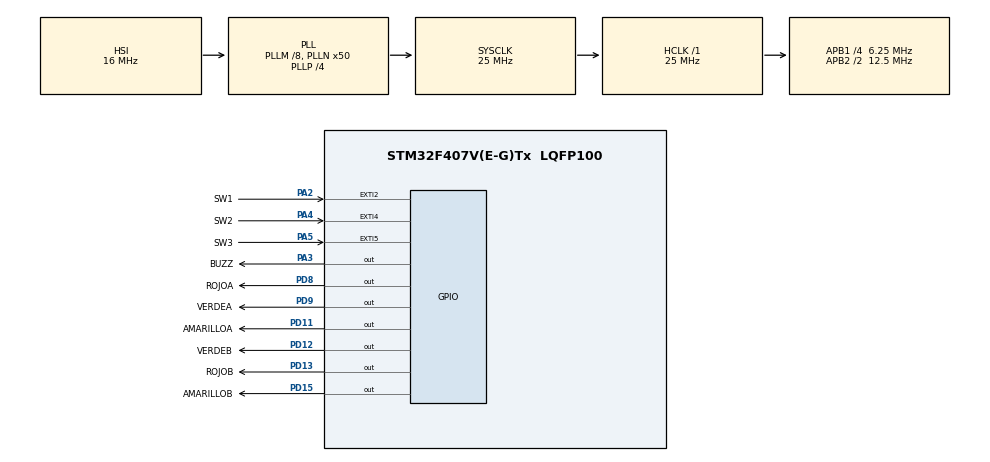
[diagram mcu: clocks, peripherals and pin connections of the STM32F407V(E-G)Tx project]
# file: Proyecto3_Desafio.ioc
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Mcu.Family=STM32F4
Mcu.Name=STM32F407V(E-G)Tx
Mcu.Package=LQFP100
NVIC.EXTI2_IRQn=true\:0\:0\:false\:false\:true\:true\:true\:true
NVIC.EXTI4_IRQn=true\:0\:0\:false\:false\:true\:true\:true\:true
NVIC.PriorityGroup=NVIC_PRIORITYGROUP_0
PA2.GPIO_Label=SW1
PA2.GPIO_ModeDefaultEXTI=GPIO_MODE_IT_FALLING
PA2.Signal=GPXTI2
PA3.GPIO_Label=BUZZ
PA3.Signal=GPIO_Output
PA4.GPIO_Label=SW2
PA4.GPIO_ModeDefaultEXTI=GPIO_MODE_IT_RISING
PA4.Signal=GPXTI4
PA5.GPIO_Label=SW3
PA5.GPIO_ModeDefaultEXTI=GPIO_MODE_IT_RISING_FALLING
PA5.Signal=GPXTI5
PD11.GPIO_Label=AMARILLOA
PD11.Signal=GPIO_Output
PD12.GPIO_Label=VERDEB
PD12.Signal=GPIO_Output
PD13.GPIO_Label=ROJOB
PD13.Signal=GPIO_Output
PD15.GPIO_Label=AMARILLOB
PD15.Signal=GPIO_Output
PD8.GPIO_Label=ROJOA
PD8.Signal=GPIO_Output
PD9.GPIO_Label=VERDEA
PD9.Signal=GPIO_Output
ProjectManager.HeapSize=0x200
ProjectManager.StackSize=0x400
ProjectManager.TargetToolchain=STM32CubeIDE
RCC.48MHZClocksFreq_Value=14285714.285714285
RCC.AHBFreq_Value=25000000
RCC.APB1CLKDivider=RCC_HCLK_DIV4
RCC.APB1Freq_Value=6250000
RCC.APB1TimFreq_Value=12500000
RCC.APB2CLKDivider=RCC_HCLK_DIV2
RCC.APB2Freq_Value=12500000
RCC.APB2TimFreq_Value=25000000
RCC.CortexFreq_Value=25000000
RCC.HCLKFreq_Value=25000000
RCC.HSE_VALUE=8000000
RCC.HSI_VALUE=16000000
RCC.LSE_VALUE=32768
RCC.PLLM=8
RCC.PLLN=50
RCC.PLLP=RCC_PLLP_DIV4
RCC.PLLQ=7
RCC.SYSCLKFreq_VALUE=25000000
RCC.SYSCLKSource=RCC_SYSCLKSOURCE_PLLCLK
RCC.VCOOutputFreq_Value=100000000
board=STM32F407G-DISC1

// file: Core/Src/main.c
/* USER CODE BEGIN Header */
/**
 ******************************************************************************
 * @file           : main.c
 * @brief          : Main program body
 ******************************************************************************
 * @attention
 *
 * Copyright (c) 2026 STMicroelectronics.
 * All rights reserved.
 *
 * This software is licensed under terms that can be found in the LICENSE file
 * in the root directory of this software component.
 * If no LICENSE file comes with this software, it is provided AS-IS.
 *
 ******************************************************************************
 */
/* USER CODE END Header */
#include "main.h"

/* USER CODE BEGIN PTD */
typedef enum { ROJO_A, AMARILLO_A, VERDE_A, TOTAL_SECUENCIAA} SecuenciaA;

typedef enum { ROJO_B, AMARILLO_B, VERDE_B, TOTAL_SECUENCIAB} SecuenciaB;
/* USER CODE END PTD */

/* USER CODE BEGIN PD */
#define BOTONES_GPIO_PORT GPIOA //el buzzer está en esta categoria
#define LUCES_GPIO_PORT GPIOD

#define encenderTodos ROJOA_Pin|VERDEA_Pin|AMARILLOA_Pin|VERDEB_Pin|ROJOB_Pin|AMARILLOB_Pin
#define apagarTodos (ROJOA_Pin|VERDEA_Pin|AMARILLOA_Pin|VERDEB_Pin|ROJOB_Pin|AMARILLOB_Pin) << 16

#define T2S 2000
#define T1S 1000
#define TREBOTE 150

#define ESTADOINICIALA ROJO_A
#define ESTADOINICIALB ROJO_B
//#define SecuenciaA estadoActualA
//#define SecuenciaB estadoActualB

/* USER CODE END PD */

/* USER CODE BEGIN PV */
volatile uint8_t solicitud = 0;
volatile uint32_t lastDebounceTickSw1 = 0;
volatile uint32_t lastDebounceTickSw2 = 0;
volatile uint32_t lastDebounceTickSw3 = 0;

/* USER CODE END PV */

void SystemClock_Config(void);
static void MX_GPIO_Init(void);
/* USER CODE BEGIN PFP */
void inicio();
void Funcionapagartodos();
void Funcionencendertodos();
void apagarA(SecuenciaA estadoActualA);
void apagarB(SecuenciaB estadoActualB);
void encenderA(SecuenciaA estadoActualA);
void encenderB(SecuenciaB estadoActualB);
SecuenciaA avanzarA(SecuenciaA estadoActualA);
SecuenciaB avanzarB(SecuenciaB estadoActualB);

/* USER CODE END PFP */

int main(void)
{

	/* MCU Configuration--------------------------------------------------------*/

	/* Reset of all peripherals, Initializes the Flash interface and the Systick. */
	HAL_Init();

	/* Configure the system clock */
	SystemClock_Config();

	/* Initialize all configured peripherals */
	MX_GPIO_Init();
	/* USER CODE BEGIN 2 */
	SecuenciaA estadoActualA = ESTADOINICIALA;
	SecuenciaB estadoActualB = ESTADOINICIALB;
	int contador = 0;

	inicio();
	/* USER CODE END 2 */

	/* Infinite loop */
	while (1)
	{

		/* USER CODE BEGIN 3 */
		if (solicitud == 1) {
			estadoActualA = avanzarA(estadoActualA);
			solicitud = 0;
		}
		if (solicitud == 2) {
			estadoActualB = avanzarB(estadoActualB);
			solicitud = 0;
		}
		if (solicitud == 3) {
			contador++;
			solicitud = 0;
			if (contador == 5) {
				HAL_GPIO_WritePin(BOTONES_GPIO_PORT, BUZZ_Pin, GPIO_PIN_SET);
				inicio();
				HAL_Delay(5000);
				HAL_GPIO_WritePin(BOTONES_GPIO_PORT, BUZZ_Pin, GPIO_PIN_RESET);

				contador = 0;
			}
		}
	}
}
/* USER CODE END 3 */

void SystemClock_Config(void)
{
	RCC_OscInitTypeDef RCC_OscInitStruct = {0};
	RCC_ClkInitTypeDef RCC_ClkInitStruct = {0};

	/** Configure the main internal regulator output voltage
	 */
	__HAL_RCC_PWR_CLK_ENABLE();
	__HAL_PWR_VOLTAGESCALING_CONFIG(PWR_REGULATOR_VOLTAGE_SCALE1);

	/** Initializes the RCC Oscillators according to the specified parameters
	 * in the RCC_OscInitTypeDef structure.
	 */
	RCC_OscInitStruct.OscillatorType = RCC_OSCILLATORTYPE_HSI;
	RCC_OscInitStruct.HSIState = RCC_HSI_ON;
	RCC_OscInitStruct.HSICalibrationValue = RCC_HSICALIBRATION_DEFAULT;
	RCC_OscInitStruct.PLL.PLLState = RCC_PLL_ON;
	RCC_OscInitStruct.PLL.PLLSource = RCC_PLLSOURCE_HSI;
	RCC_OscInitStruct.PLL.PLLM = 8;
	RCC_OscInitStruct.PLL.PLLN = 50;
	RCC_OscInitStruct.PLL.PLLP = RCC_PLLP_DIV4;
	RCC_OscInitStruct.PLL.PLLQ = 7;
	if (HAL_RCC_OscConfig(&RCC_OscInitStruct) != HAL_OK)
	{
		Error_Handler();
	}

	/** Initializes the CPU, AHB and APB buses clocks
	 */
	RCC_ClkInitStruct.ClockType = RCC_CLOCKTYPE_HCLK|RCC_CLOCKTYPE_SYSCLK
			|RCC_CLOCKTYPE_PCLK1|RCC_CLOCKTYPE_PCLK2;
	RCC_ClkInitStruct.SYSCLKSource = RCC_SYSCLKSOURCE_PLLCLK;
	RCC_ClkInitStruct.AHBCLKDivider = RCC_SYSCLK_DIV1;
	RCC_ClkInitStruct.APB1CLKDivider = RCC_HCLK_DIV4;
	RCC_ClkInitStruct.APB2CLKDivider = RCC_HCLK_DIV2;

	if (HAL_RCC_ClockConfig(&RCC_ClkInitStruct, FLASH_LATENCY_0) != HAL_OK)
	{
		Error_Handler();
	}
}

static void MX_GPIO_Init(void)
{
	GPIO_InitTypeDef GPIO_InitStruct = {0};

	/* GPIO Ports Clock Enable */
	__HAL_RCC_GPIOA_CLK_ENABLE();
	__HAL_RCC_GPIOD_CLK_ENABLE();

	/*Configure GPIO pin Output Level */
	HAL_GPIO_WritePin(BUZZ_GPIO_Port, BUZZ_Pin, GPIO_PIN_RESET);

	/*Configure GPIO pin Output Level */
	HAL_GPIO_WritePin(GPIOD, ROJOA_Pin|VERDEA_Pin|AMARILLOA_Pin|VERDEB_Pin
			|ROJOB_Pin|AMARILLOB_Pin, GPIO_PIN_RESET);

	/*Configure GPIO pin : SW1_Pin */
	GPIO_InitStruct.Pin = SW1_Pin;
	GPIO_InitStruct.Mode = GPIO_MODE_IT_FALLING;
	GPIO_InitStruct.Pull = GPIO_NOPULL;
	HAL_GPIO_Init(SW1_GPIO_Port, &GPIO_InitStruct);

	/*Configure GPIO pin : BUZZ_Pin */
	GPIO_InitStruct.Pin = BUZZ_Pin;
	GPIO_InitStruct.Mode = GPIO_MODE_OUTPUT_PP;
	GPIO_InitStruct.Pull = GPIO_NOPULL;
	GPIO_InitStruct.Speed = GPIO_SPEED_FREQ_LOW;
	HAL_GPIO_Init(BUZZ_GPIO_Port, &GPIO_InitStruct);

	/*Configure GPIO pin : SW2_Pin */
	GPIO_InitStruct.Pin = SW2_Pin;
	GPIO_InitStruct.Mode = GPIO_MODE_IT_RISING;
	GPIO_InitStruct.Pull = GPIO_NOPULL;
	HAL_GPIO_Init(SW2_GPIO_Port, &GPIO_InitStruct);

	/*Configure GPIO pin : SW3_Pin */
	GPIO_InitStruct.Pin = SW3_Pin;
	GPIO_InitStruct.Mode = GPIO_MODE_IT_RISING_FALLING;
	GPIO_InitStruct.Pull = GPIO_NOPULL;
	HAL_GPIO_Init(SW3_GPIO_Port, &GPIO_InitStruct);

	/*Configure GPIO pins : ROJOA_Pin VERDEA_Pin AMARILLOA_Pin VERDEB_Pin
                           ROJOB_Pin AMARILLOB_Pin */
	GPIO_InitStruct.Pin = ROJOA_Pin|VERDEA_Pin|AMARILLOA_Pin|VERDEB_Pin
			|ROJOB_Pin|AMARILLOB_Pin;
	GPIO_InitStruct.Mode = GPIO_MODE_OUTPUT_PP;
	GPIO_InitStruct.Pull = GPIO_NOPULL;
	GPIO_InitStruct.Speed = GPIO_SPEED_FREQ_LOW;
	HAL_GPIO_Init(GPIOD, &GPIO_InitStruct);

	/* EXTI interrupt init*/
	HAL_NVIC_SetPriority(EXTI2_IRQn, 0, 0);
	HAL_NVIC_EnableIRQ(EXTI2_IRQn);

	HAL_NVIC_SetPriority(EXTI4_IRQn, 0, 0);
	HAL_NVIC_EnableIRQ(EXTI4_IRQn);

	HAL_NVIC_SetPriority(EXTI9_5_IRQn, 0, 0);
	HAL_NVIC_EnableIRQ(EXTI9_5_IRQn);

}

/* USER CODE BEGIN 4 */
void inicio(){

	Funcionencendertodos();
	HAL_Delay(T2S);
	Funcionapagartodos();
	HAL_Delay(T1S);
	HAL_GPIO_WritePin(LUCES_GPIO_PORT, ROJOA_Pin, GPIO_PIN_SET);
	HAL_GPIO_WritePin(LUCES_GPIO_PORT, ROJOB_Pin, GPIO_PIN_SET);
}

void Funcionencendertodos(void) {
	LUCES_GPIO_PORT->BSRR=encenderTodos;
}

void Funcionapagartodos(void) {
	LUCES_GPIO_PORT->BSRR=apagarTodos;
}

void apagarA(SecuenciaA estadoActualA) {
	switch(estadoActualA){
	case ROJO_A:
		HAL_GPIO_WritePin(LUCES_GPIO_PORT, ROJOA_Pin, GPIO_PIN_RESET);
		break;

	case AMARILLO_A:
		HAL_GPIO_WritePin(LUCES_GPIO_PORT, AMARILLOA_Pin, GPIO_PIN_RESET);
		break;

	case VERDE_A:
		HAL_GPIO_WritePin(LUCES_GPIO_PORT, VERDEA_Pin, GPIO_PIN_RESET);
		break;

	default:
		Funcionapagartodos();
	}

}

void apagarB(SecuenciaB estadoActualB) {
	switch(estadoActualB){
	case ROJO_B:
		HAL_GPIO_WritePin(LUCES_GPIO_PORT, ROJOB_Pin, GPIO_PIN_RESET);
		break;

	case AMARILLO_B:
		HAL_GPIO_WritePin(LUCES_GPIO_PORT, AMARILLOB_Pin, GPIO_PIN_RESET);
		break;

	case VERDE_B:
		HAL_GPIO_WritePin(LUCES_GPIO_PORT, VERDEB_Pin, GPIO_PIN_RESET);
		break;

	default:
		Funcionapagartodos();
	}

}

void encenderA(SecuenciaA estadoActualA) {
	switch(estadoActualA){
	case ROJO_A:
		HAL_GPIO_WritePin(LUCES_GPIO_PORT, ROJOA_Pin, GPIO_PIN_SET);
		break;

	case AMARILLO_A:
		HAL_GPIO_WritePin(LUCES_GPIO_PORT, AMARILLOA_Pin, GPIO_PIN_SET);
		break;

	case VERDE_A:
		HAL_GPIO_WritePin(LUCES_GPIO_PORT, VERDEA_Pin, GPIO_PIN_SET);
		break;

	default:
		Funcionencendertodos();
	}

}

void encenderB(SecuenciaB estadoActualB) {
	switch(estadoActualB){
	case ROJO_B:
		HAL_GPIO_WritePin(LUCES_GPIO_PORT, ROJOB_Pin, GPIO_PIN_SET);
		break;

	case AMARILLO_B:
		HAL_GPIO_WritePin(LUCES_GPIO_PORT, AMARILLOB_Pin, GPIO_PIN_SET);
		break;

	case VERDE_B:
		HAL_GPIO_WritePin(LUCES_GPIO_PORT, VERDEB_Pin, GPIO_PIN_SET);
		break;

	default:
		Funcionencendertodos();
	}

}

SecuenciaA avanzarA(SecuenciaA estadoActualA) {
	apagarA(estadoActualA);
	SecuenciaA estadoSiguienteA = (SecuenciaA)((estadoActualA + 1) % TOTAL_SECUENCIAA);
	encenderA(estadoSiguienteA);
	return estadoSiguienteA;
}

SecuenciaB avanzarB(SecuenciaB estadoActualB) {
	apagarB(estadoActualB);
	SecuenciaB estadoSiguienteB = (SecuenciaB)((estadoActualB + 1) % TOTAL_SECUENCIAB);
	encenderB(estadoSiguienteB);
	return estadoSiguienteB;
}

void HAL_GPIO_EXTI_Callback(uint16_t GPIO_Pin){
	uint32_t now = HAL_GetTick();

	if (GPIO_Pin == SW1_Pin) {
		if ((now - lastDebounceTickSw1) >= TREBOTE) {
			solicitud = 1;
			lastDebounceTickSw1 = now;
		}
	}
	else if (GPIO_Pin == SW2_Pin) {
		if ((now - lastDebounceTickSw2) >= TREBOTE) {
			if (HAL_GPIO_ReadPin(SW2_GPIO_Port, SW2_Pin) == GPIO_PIN_SET) {
				solicitud = 2;
				lastDebounceTickSw2 = now;
			}
		}
	}
	else if (GPIO_Pin == SW3_Pin) {
		if ((now - lastDebounceTickSw3) >= TREBOTE) {
			solicitud = 3;
			lastDebounceTickSw3 = now;
		}
	}
}

/* USER CODE END 4 */

void Error_Handler(void)
{
	__disable_irq();
	while (1)
	{
	}
}
